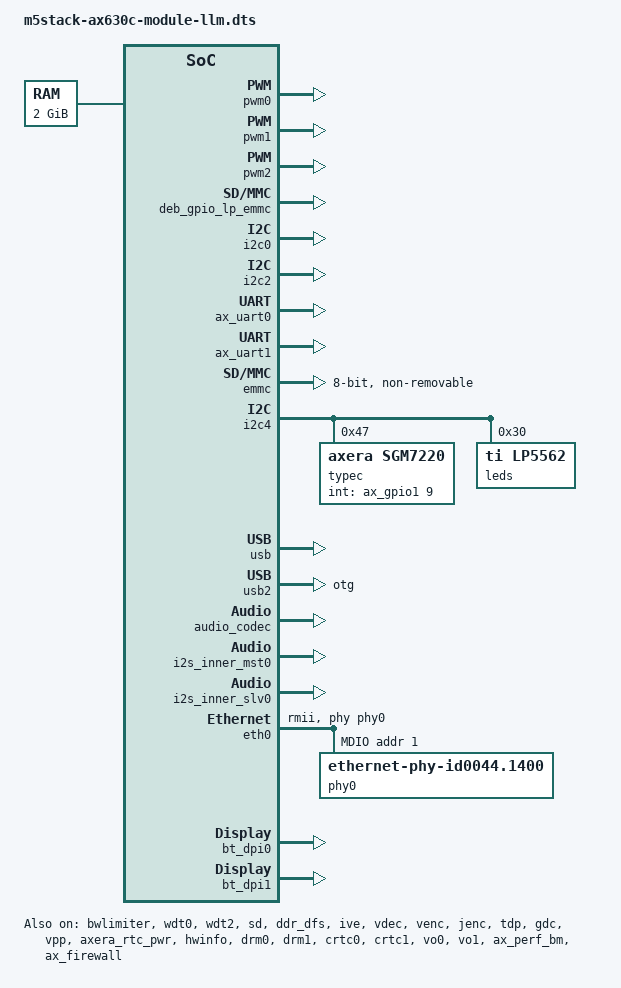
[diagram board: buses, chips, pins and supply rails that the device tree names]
// SPDX-License-Identifier: GPL-2.0
/**************************************************************************************************
 *
 * Copyright (c) 2019-2024 Axera Semiconductor Co., Ltd. All Rights Reserved.
 *
 * This dts file is the property of Axera Semiconductor Co., Ltd. and
 * may not be copied or distributed in any isomorphic form without the prior
 * written consent of Axera Semiconductor Co., Ltd.
 *
 **************************************************************************************************/

/dts-v1/;
#include "AX620E.dtsi"

/ {
	aliases {
		ethernet0 = &eth0;

		serial0 = &ax_uart0;
		serial1 = &ax_uart1;
		serial2 = &ax_uart2;
		serial3 = &ax_uart3;
		serial4 = &ax_uart4;
		serial5 = &ax_uart5;
		spi0 = &spi0;
		spi1 = &spi1;
		spi2 = &spi2;
		spi3 = &spi_slv;
		spi4 = &spi4;

		i2c0 = &i2c0;
		i2c1 = &i2c1;
		i2c2 = &i2c2;
		i2c3 = &i2c3;
		i2c4 = &i2c4;
		i2c5 = &i2c5;
		i2c6 = &i2c6;
		i2c7 = &i2c7;
		mmc0 = &emmc;
		mmc1 = &sd;
		mmc2 = &sdio;
	};

	memory@40000000 {
		device_type = "memory";
		reg = <0x0 0x40000000 0x0 0x80000000>;
	};
	reserved-memory {
		#address-cells = <2>;
		#size-cells = <2>;
		ranges;
		ramoops_mem@48000000 {
			compatible = "ramoops";
			reg = <0x0 0x48000000 0x0 0xf0000>;
			record-size = <0x40000>;
			console-size = <0x80000>;
			ftrace-size = <0x20000>;
		};
		axera_memory_dump@0 {
			compatible = "axera_memory_dump";
			reg = <0x0 0x480f0000 0x0 0x3000>;
			no-map;
		};
		atf_reserved: atf_memreserved {
			reg = <ATF_RESERVED_START_HI ATF_RESERVED_START_LO ATF_RESERVED_SIZE_HI ATF_RESERVED_SIZE_LO>;
			no-map;
		};
#ifdef OPTEE_BOOT
		optee_reserved: optee_memserved {
			reg = <OPTEE_RESERVED_START_HI OPTEE_RESERVED_START_LO OPTEE_RESERVED_SIZE_HI OPTEE_RESERVED_SIZE_LO>;
			no-map;
		};
#endif
		axera_ddr_retrain@0 {
			compatible = "axera_ddr_retrain";
			reg = <0x0 0x40000000 0x0 0x1000>;
		};
	};

	chosen {
		bootargs = BOOTARGS;
	};

	sound {
		status = "okay";
		compatible = "simple-audio-card";
		simple-audio-card,name = "Axera Audio";
		simple-audio-card,widgets =
			"Microphone", "Mic Jack";
		simple-audio-card,routing =
			"AMIC", "Mic Jack";
		#address-cells = <1>;
		#size-cells = <0>;
		simple-audio-card,dai-link@0 {
			format = "i2s";
			bitclock-master = <&codec_m6>;
			frame-master = <&codec_m6>;
			capture-only;
			cpu {
				sound-dai = <&i2s_inner_slv0>;
			};
			codec_m6: codec {
				sound-dai = <&audio_codec>;
				system-clock-frequency = <12288000>;
			};
		};
		simple-audio-card,dai-link@1 {
			format = "i2s";
			playback-only;
			cpu {
				sound-dai = <&i2s_inner_mst0>;
			};
			codec {
				sound-dai = <&audio_codec>;
				system-clock-frequency = <12288000>;
			};
		};
	};

	axera_logctl {
		compatible = "axera,logctl";
		config = "/etc/ax_syslog.conf";
		logstate = /bits/ 8 <1 1>;
		loglevel = /bits/ 8 <4 4>;
	};

};

&pwm0 {
	status = "okay";
};

&pwm1 {
	status = "okay";
};

&pwm2 {
	status = "okay";
};

&deb_gpio_lp_emmc {
	lp-num = <0xB>; /* use db_gpio11 as wakeup source */
	status = "okay";
};

&bwlimiter {
	status = "okay";
};

&i2c0 {
	status = "okay";
};


&i2c2 {
	status = "okay";
};

&ax_uart0 {
	// compatible = "axera,axera-uart";
	status = "okay";
};

// DMA has an error, do not use.
&ax_uart1 {
	// compatible = "axera,axera-uart";
	status = "okay";
	axera,uart-16550-compatible = <1>;
	/delete-property/dmas;
	/delete-property/dma-names;
};

&wdt0 {
	status = "okay";
};

&wdt2 {
	status = "okay";
};

&emmc{
	max-frequency = <200000000>;
	sdhci-caps-mask = <0x2 0x03200000>;
	bus-width = <8>;
	no-sdio;
	no-sd;
	non-removable;
	disable-wp;
	cap-mmc-hw-reset;
	/* AX630C use GPIO2_A23 */
	hw-reset = <&ax_gpio2 23 0>;
	/* AX620Q use GPIO1_A0 */
	/* hw-reset = <&ax_gpio1 0 0>; */
	cap-mmc-highspeed;
	mmc-hs200-1_8v;
	mmc-hs400-1_8v;
	mmc-hs400-enhanced-strobe;
	cdns,phy-input-delay-sd-highspeed = <2>;
	cdns,phy-input-delay-legacy = <4>;
	cdns,phy-input-delay-sd-uhs-sdr12 = <1>;
	cdns,phy-input-delay-sd-uhs-sdr25 = <2>;
	cdns,phy-input-delay-sd-uhs-sdr50 = <1>;
	cdns,phy-input-delay-sd-uhs-ddr50 = <2>;
	cdns,phy-input-delay-mmc-legacy = <1>;
	cdns,phy-input-delay-mmc-highspeed = <2>;
	cdns,phy-input-delay-mmc-ddr = <2>;
	cdns,phy-dll-delay-sdclk = <45>;
	cdns,phy-dll-delay-sdclk-hsmmc = <23>;
	cdns,phy-dll-delay-strobe = <18>;
	fixed-emmc-driver-type = <4>;
	status = "okay";
};

&sd{
	sdhci-caps-mask = <0x7 0x00200000>;
	bus-width = <4>;
	max-frequency = <200000000>;
	cap-sd-highspeed;
	sd-uhs-sdr12;
	sd-uhs-sdr25;
	sd-uhs-sdr50;
	sd-uhs-ddr50;
	sd-uhs-sdr104;
	no-sdio;
	no-mmc;
	disable-wp;

	cd-gpios = <&ax_gpio1 11 0>;
	cd-inverted;
	cd-debounce-delay-ms = <300>;

	cdns,phy-input-delay-sd-highspeed = <2>;
	cdns,phy-input-delay-legacy = <3>;
	cdns,phy-input-delay-sd-uhs-sdr12 = <3>;
	cdns,phy-input-delay-sd-uhs-sdr25 = <2>;
	cdns,phy-input-delay-sd-uhs-sdr50 = <1>;
	cdns,phy-input-delay-sd-uhs-ddr50 = <1>;
	cdns,phy-dll-delay-sdclk = <0>;

	status = "okay";
};

&i2c4 {
	#address-cells = <0x1>;
	#size-cells = <0x0>;
	status = "okay";

	typec: sgm7220@47 {
		compatible = "axera,sgm7220";
		reg = <0x47>;
		int-gpio = <&ax_gpio1 9 0>;
		// chanel-sel = <&ax_gpio0 30 0>;
		bind-usb = "8000000.dwc3";
		status = "okay";
		
	};

	leds: led-controller@30 {
		compatible = "ti,lp5562";
		reg = <0x30>;
		clock-mode = /bits/ 8 <1>;
		status = "okay";
		#address-cells = <1>;
		#size-cells = <0>;

		chan@0 {
			chan-name = "R";
			led-cur = /bits/ 8 <0x20>;
			max-cur = /bits/ 8 <0x60>;
			reg = <0>;
			color = <1>;
		};

		chan@1 {
			chan-name = "G";
			led-cur = /bits/ 8 <0x20>;
			max-cur = /bits/ 8 <0x60>;
			reg = <1>;
			color = <2>;
		};

		chan@2 {
			chan-name = "B";
			led-cur = /bits/ 8 <0x20>;
			max-cur = /bits/ 8 <0x60>;
			reg = <2>;
			color = <3>;
		};
	};
};

&usb {
	status = "okay";
};

&usb2 {
	dr_mode = "otg";
	// extcon = <&extcon_usb>;
	// dr_mode = "peripheral";
	status = "okay";
};


&audio_codec {
	gpio-mic-rp = <&ax_gpio1 7 0>; /* GPIO1_A7 */
	gpio-mic-rn = <&ax_gpio1 6 0>; /* GPIO1_A6 */
	gpio-mic-ln = <&ax_gpio1 5 0>; /* GPIO1_A5 */
	gpio-mic-lp = <&ax_gpio1 4 0>; /* GPIO1_A4 */
	gpio-pa-speaker = <&ax_gpio1 8 0>;
	status = "okay";
};

//playback
&i2s_inner_mst0 {
	status = "okay";
	/*i2s - pad0*/
	i2s-m-aec-cycle-sel = <0>;    /*23-22*/
	i2s-m-aec-sclk-sel = <0>;     /*21*/
	i2s-inner-codec-en = <1>;     /*20*/
	i2s-exter-codec-en = <0>;     /*19*/
	i2s-m-exter-codec-en = <0>;   /*18*/
	i2s-exter-codec-mst = <0>;    /*17*/
	i2s-m-exter-codec-mst = <0>;  /*16*/
	iis-out-tdm-en = <0>;         /*15*/
	iis-m-out-tdm-en = <0>;       /*14*/
	i2s-m-rx0-sel = <0>;          /*13*/
	i2s-m-rx1-sel = <0>;          /*12-11*/
	i2s-s-rx0-sel = <0>;          /*10-9*/
	i2s-s-rx1-sel = <2>;          /*8-7*/
	i2s-s-sclk-sel = <0>;         /*6-5*/
	tdm-m-rx-sel = <0>;           /*4-3*/
	tdm-s-rx-sel = <0>;           /*2-1*/
	tdm-s-sclk-sel = <0>;         /*0*/
};
// capture
&i2s_inner_slv0 {
	status = "okay";
	/*i2s - pad0*/
	i2s-m-aec-cycle-sel = <0>;    /*23-22*/
	i2s-m-aec-sclk-sel = <0>;     /*21*/
	i2s-inner-codec-en = <1>;     /*20*/
	i2s-exter-codec-en = <0>;     /*19*/
	i2s-m-exter-codec-en = <0>;   /*18*/
	i2s-exter-codec-mst = <0>;    /*17*/
	i2s-m-exter-codec-mst = <0>;  /*16*/
	iis-out-tdm-en = <0>;         /*15*/
	iis-m-out-tdm-en = <0>;       /*14*/
	i2s-m-rx0-sel = <0>;          /*13*/
	i2s-m-rx1-sel = <0>;          /*12-11*/
	i2s-s-rx0-sel = <0>;          /*10-9*/
	i2s-s-rx1-sel = <2>;          /*8-7*/
	i2s-s-sclk-sel = <0>;         /*6-5*/
	tdm-m-rx-sel = <0>;           /*4-3*/
	tdm-s-rx-sel = <0>;           /*2-1*/
	tdm-s-sclk-sel = <0>;         /*0*/
};

&eth0 {
	status = "okay";

	phy-handle = <&phy0>;
	phy-mode = "rmii";
	axera-ephy,led0-mode = <EPHY_LED_SPEED>;
	axera-ephy,led0-enable;
	axera-ephy,led1-mode = <EPHY_LED_LINK>;
	axera-ephy,led1-enable;
	axera-ephy,led-polarity = <EPHY_LED_LOW_ACTIVE>;
	mdio {
		#address-cells = <1>;
		#size-cells = <0>;
		compatible = "snps,dwmac-mdio";
		phy0: axera-ephy@1 {
			device_tpye = "ethernet-phy";
			compatible = "ethernet-phy-id0044.1400";
			reg = <1>;
		};
	};
};


&ddr_dfs {
       status = "okay";
};

&ive {
	status = "okay";
};

&vdec {
	status = "okay";
};

&venc {
	status = "okay";
};

&jenc {
	status = "okay";
};

&tdp {
	status = "okay";
};

&gdc {
	status = "okay";
};

&vpp {
	status = "okay";
};

&axera_rtc_pwr {
        status = "okay";
};

&hwinfo {
	status = "okay";
};

&drm0 {
	status = "okay";
};

&drm1 {
	status = "okay";
};

&crtc0 {
	status = "okay";
};

&crtc1 {
	status = "okay";
};

&vo0 {
	status = "okay";
};

&vo1 {
	status = "okay";
};

&bt_dpi0 {
	status = "okay";
};

&bt_dpi1 {
	status = "okay";
};

&dma {
	status = "okay";
};

&dma_per {
	status = "okay";
};

&dmac {
	status = "okay";
};

&ax_perf_bm {
	status = "okay";
};

&ax_firewall {
	status = "okay";
};
